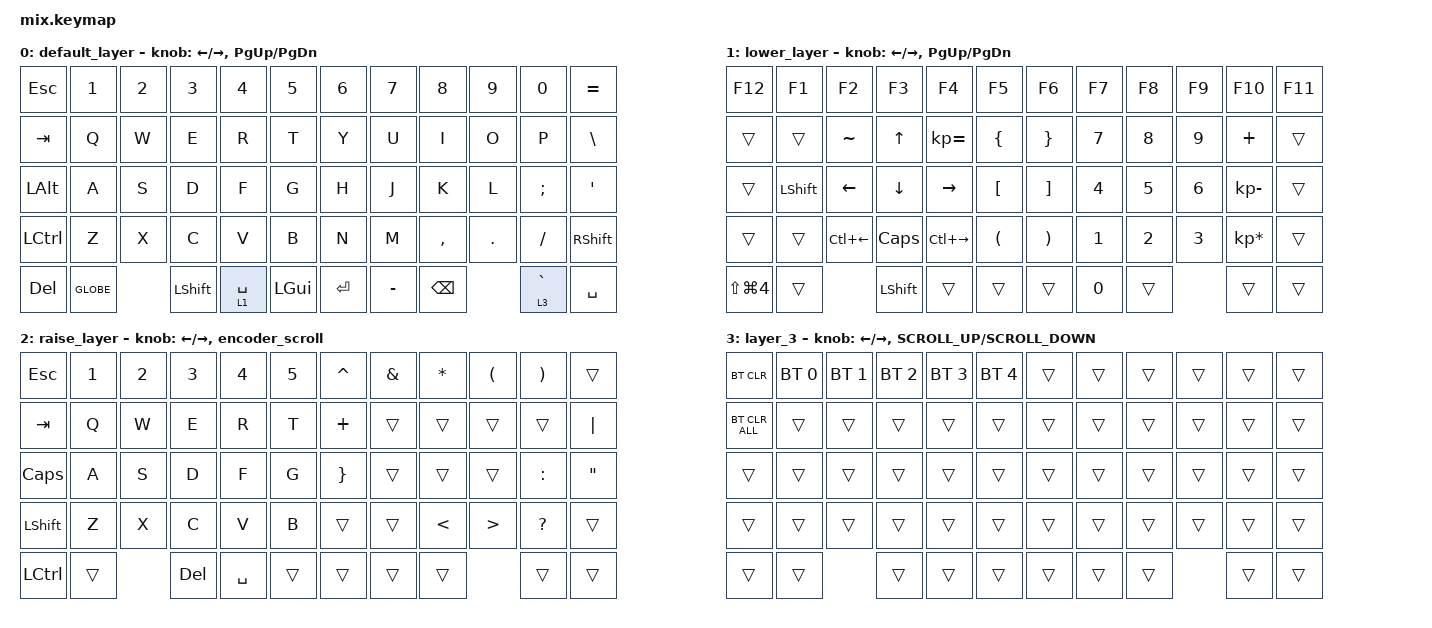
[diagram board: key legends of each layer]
/*
 * Copyright (c) 2020 The ZMK Contributors
 *
 * SPDX-License-Identifier: MIT
 */

#include <behaviors.dtsi>
#include <dt-bindings/zmk/bt.h>
#include <dt-bindings/zmk/keys.h>
#include <dt-bindings/zmk/pointing.h>

#define ZMK_MOUSE_SCRL_VAL 20

/ {
    combos {
        compatible = "zmk,combos";

        boot {
            bindings = <&bootloader>;
            key-positions = <0 52 53 11>;
        };
    };

    behaviors {
        encoder_scroll: encoder_scroll {
            compatible = "zmk,behavior-sensor-rotate";
            label = "ENCODER_SCROLL";
            #sensor-binding-cells = <0>;
            bindings = <&msc MOVE_Y(15)>, <&msc MOVE_Y(-15)>;

            tap-ms = <5>;
        };
    };

    keymap {
        compatible = "zmk,keymap";

        default_layer {
            bindings = <
&kp ESCAPE    &kp N1     &kp N2  &kp N3          &kp NUMBER_4  &kp N5        &kp NUMBER_6  &kp N7     &kp N8         &kp N9   &kp N0       &kp EQUAL
&kp TAB       &kp Q      &kp W   &kp E           &kp R         &kp T         &kp Y         &kp U      &kp I          &kp O    &kp P        &kp BACKSLASH
&kp LEFT_ALT  &kp A      &kp S   &kp D           &kp F         &kp G         &kp H         &kp J      &kp K          &kp L    &kp SEMI     &kp SQT
&kp LCTRL     &kp Z      &kp X   &kp C           &kp V         &kp B         &kp N         &kp M      &kp COMMA      &kp DOT  &kp FSLH     &kp RSHFT
&kp DEL       &kp GLOBE          &kp LEFT_SHIFT  &lt 1 SPACE   &kp LEFT_GUI  &kp ENTER     &kp MINUS  &kp BACKSPACE           &lt 3 GRAVE  &kp SPACE
            >;

            sensor-bindings =
                <&inc_dec_kp LEFT_ARROW RIGHT_ARROW>,
                <&inc_dec_kp PAGE_UP PAGE_DOWN>;
        };

        lower_layer {
            bindings = <
&kp F12               &kp F1          &kp F2              &kp F3          &kp F4               &kp F5                &kp F6                 &kp F7        &kp F8        &kp F9        &kp F10          &kp F11
&trans                &trans          &kp TILDE           &kp UP_ARROW    &kp KP_EQUAL         &kp LEFT_BRACE        &kp RIGHT_BRACE        &kp NUMBER_7  &kp NUMBER_8  &kp NUMBER_9  &kp PLUS         &trans
&trans                &kp LEFT_SHIFT  &kp LEFT            &kp DOWN_ARROW  &kp RIGHT_ARROW      &kp LEFT_BRACKET      &kp RIGHT_BRACKET      &kp NUMBER_4  &kp NUMBER_5  &kp NUMBER_6  &kp KP_MINUS     &trans
&trans                &trans          &kp LC(LEFT_ARROW)  &kp CAPS        &kp LC(RIGHT_ARROW)  &kp LEFT_PARENTHESIS  &kp RIGHT_PARENTHESIS  &kp NUMBER_1  &kp NUMBER_2  &kp NUMBER_3  &kp KP_MULTIPLY  &trans
&kp LS(LG(NUMBER_4))  &trans                              &kp LEFT_SHIFT  &trans               &trans                &trans                 &kp N0        &trans                      &trans           &trans
            >;

            sensor-bindings =
                <&inc_dec_kp LEFT_ARROW RIGHT_ARROW>,
                <&inc_dec_kp PAGE_UP PAGE_DOWN>;
        };

        raise_layer {
            bindings = <
&kp ESC         &kp NUMBER_1  &kp NUMBER_2  &kp NUMBER_3  &kp NUMBER_4  &kp N5  &kp CARET        &kp AMPERSAND  &kp ASTERISK   &kp LEFT_PARENTHESIS  &kp RIGHT_PARENTHESIS  &trans
&kp TAB         &kp Q         &kp W         &kp E         &kp R         &kp T   &kp PLUS         &trans         &trans         &trans                &trans                 &kp PIPE
&kp CAPS        &kp A         &kp S         &kp D         &kp F         &kp G   &kp RIGHT_BRACE  &trans         &trans         &trans                &kp COLON              &kp DOUBLE_QUOTES
&kp LEFT_SHIFT  &kp Z         &kp X         &kp C         &kp V         &kp B   &trans           &trans         &kp LESS_THAN  &kp GREATER_THAN      &kp QUESTION           &trans
&kp LCTRL       &trans                      &kp DELETE    &kp SPACE     &trans  &trans           &trans         &trans                               &trans                 &trans
            >;

            sensor-bindings =
                <&inc_dec_kp LEFT_ARROW RIGHT_ARROW>,
                <&encoder_scroll>;
        };

        layer_3 {
            bindings = <
&bt BT_CLR      &bt BT_SEL 0  &bt BT_SEL 1  &bt BT_SEL 2  &bt BT_SEL 3  &bt BT_SEL 4  &trans  &trans  &trans  &trans  &trans  &trans
&bt BT_CLR_ALL  &trans        &trans        &trans        &trans        &trans        &trans  &trans  &trans  &trans  &trans  &trans
&trans          &trans        &trans        &trans        &trans        &trans        &trans  &trans  &trans  &trans  &trans  &trans
&trans          &trans        &trans        &trans        &trans        &trans        &trans  &trans  &trans  &trans  &trans  &trans
&trans          &trans                      &trans        &trans        &trans        &trans  &trans  &trans          &trans  &trans
            >;

            sensor-bindings =
                <&inc_dec_kp LEFT_ARROW RIGHT_ARROW>,
                <&inc_dec_kp K_SCROLL_UP K_SCROLL_DOWN>;
        };
    };
};
